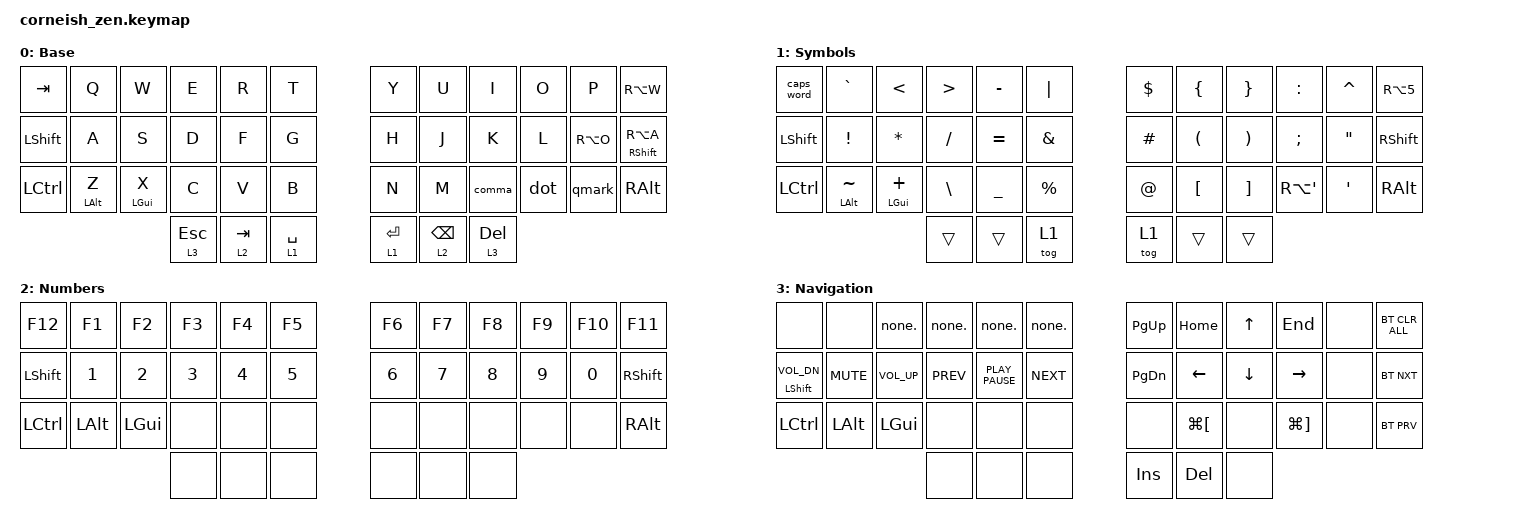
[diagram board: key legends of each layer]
/*
*
* Copyright (c) 2021 Darryl deHaan
* SPDX-License-Identifier: MIT
*
*/

#include <dt-bindings/zmk/mouse.h>
#include <behaviors.dtsi>
#include <dt-bindings/zmk/bt.h>
#include <dt-bindings/zmk/keys.h>
#include <dt-bindings/zmk/pointing.h>

&mt {
    flavor = "tap-preferred";
    quick-tap-ms = <150>;
};

&lt { quick-tap-ms = <150>; };

/ {
    chosen {
        zmk,matrix_transform = &default_transform;

        //zmk,matrix_transform = &five_column_transform;
    };
};

/ {
    combos {
        compatible = "zmk,combos";

        mus {
            bindings = <&mo 2>;
            key-positions = <37 38>;
        };
    };

    behaviors {
        comma: comma {
            compatible = "zmk,behavior-mod-morph";
            label = "COMMA";
            bindings = <&kp COMMA>, <&kp SEMICOLON>;

            #binding-cells = <0>;
            mods = <(MOD_RSFT|MOD_LSFT)>;
        };

        dot: dot {
            compatible = "zmk,behavior-mod-morph";
            label = "DOT";
            bindings = <&kp DOT>, <&kp COLON>;

            #binding-cells = <0>;
            mods = <(MOD_LSFT|MOD_RSFT)>;
        };

        qmark: qmark {
            compatible = "zmk,behavior-mod-morph";
            label = "QMARK";
            bindings = <&kp QMARK>, <&kp EXCL>;

            #binding-cells = <0>;
            mods = <(MOD_RSFT|MOD_LSFT)>;
        };
    };

    keymap {
        compatible = "zmk,keymap";

        Base {
            bindings = <
&kp TAB         &kp Q             &kp W               &kp E           &kp R       &kp T          &kp Y        &kp U            &kp I            &kp O               &kp P                  &kp RA(W)
&kp LEFT_SHIFT  &kp A             &kp S               &kp D           &kp F       &kp G          &kp H        &kp J            &kp K            &kp L               &kp RA(O)              &mt RIGHT_SHIFT RA(A)
&kp LCTRL       &mt LEFT_ALT Z    &mt LEFT_GUI X      &kp C           &kp V       &kp B          &kp N        &kp M            &comma           &dot                &qmark                 &kp RIGHT_ALT
                                                      &lt 3 ESCAPE    &lt 2 TAB   &lt 1 SPACE    &lt 1 ENTER  &lt 2 BACKSPACE  &lt 3 DELETE
            >;

            label = "Base";
        };

        Sym {
            bindings = <
&caps_word      &kp GRAVE           &kp LT             &kp GT         &kp MINUS       &kp PIPE       &kp DLLR  &kp LBRC       &kp RBRC       &kp COLON            &kp CARET       &kp RA(N5)
&kp LEFT_SHIFT  &kp EXCL            &kp ASTRK          &kp FSLH       &kp EQUAL       &kp AMPS       &kp HASH  &kp LPAR       &kp RPAR       &kp SEMICOLON        &kp DQT         &kp RIGHT_SHIFT
&kp LCTRL       &mt LEFT_ALT TILDE  &mt LEFT_GUI PLUS  &kp BSLH       &kp UNDER       &kp PERCENT    &kp AT    &kp LBKT       &kp RBKT       &kp RA(SQT)          &kp SQT         &kp RIGHT_ALT
                                                       &trans         &trans          &tog 1         &tog 1    &trans         &trans
            >;

            label = "Symbols";
        };

        Num {
            bindings = <
&kp F12     &kp F1         &kp F2        &kp F3       &kp F4       &kp F5    &kp F6  &kp F7       &kp F8       &kp F9        &kp F10        &kp F11
&kp LSHIFT  &kp N1         &kp N2        &kp N3       &kp N4       &kp N5    &kp N6  &kp N7       &kp N8       &kp N9        &kp N0         &kp RSHIFT
&kp LCTRL   &kp LALT       &kp LGUI      &none        &none        &none     &none   &none        &none        &none         &none          &kp RIGHT_ALT
                                         &none        &none        &none     &none   &none        &none
            >;

            label = "Numbers";
        };

        Nav {
            bindings = <
&none                    &none         &none.            &none.        &none.            &none.       &kp PAGE_UP    &kp HOME      &kp UP    &kp END       &none  &bt BT_CLR_ALL
&mt LEFT_SHIFT C_VOL_DN  &kp K_MUTE    &kp C_VOL_UP      &kp K_PREV    &kp K_PLAY_PAUSE  &kp K_NEXT   &kp PAGE_DOWN  &kp LEFT      &kp DOWN  &kp RIGHT     &none  &bt BT_NXT
&kp LCTRL                &kp LEFT_ALT  &kp LEFT_GUI      &none         &none             &none        &none          &kp LG(LBKT)  &none     &kp LG(RBKT)  &none  &bt BT_PRV
                                              &none         &none             &none         &kp INSERT     &kp DEL       &none
            >;

            label = "Navigation";
        };
    };
};
